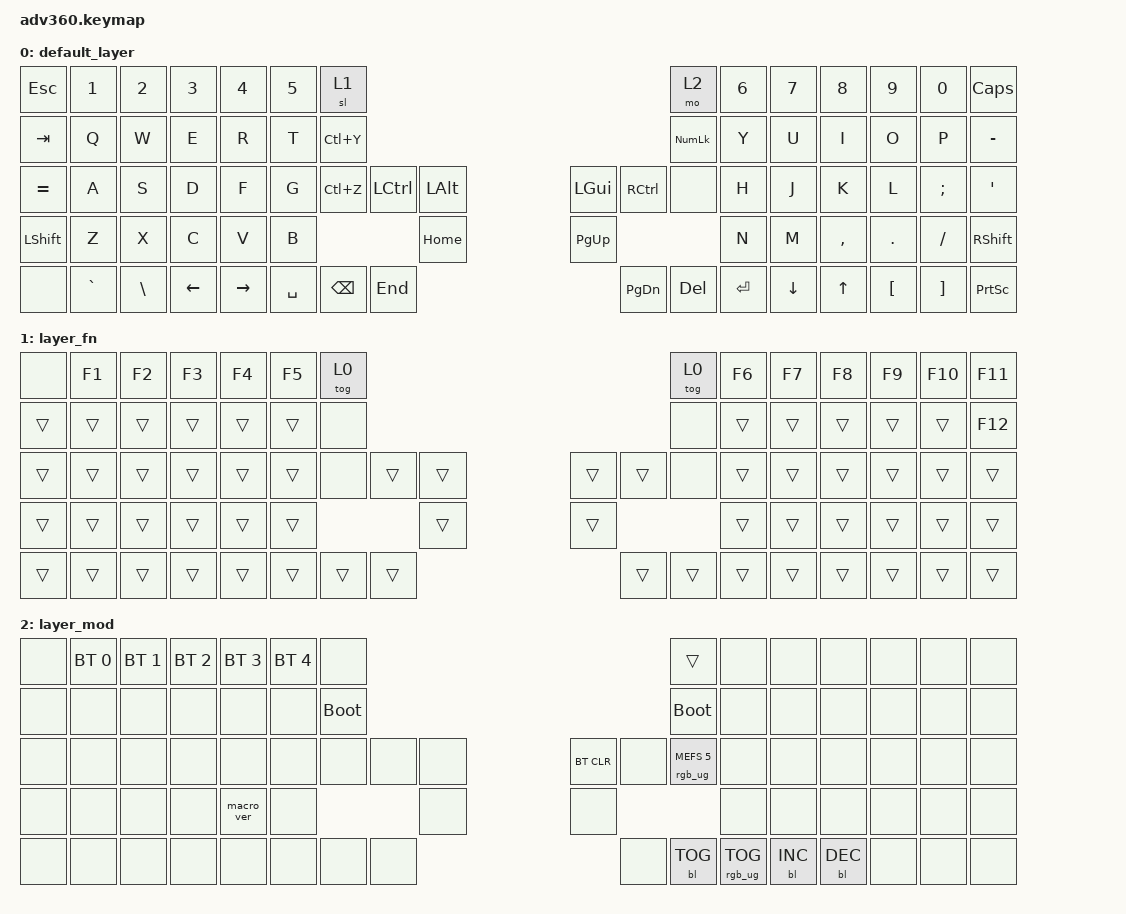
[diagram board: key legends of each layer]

/*
 * Copyright (c) 2020 The ZMK Contributors
 *
 * SPDX-License-Identifier: MIT
 */


/* THIS FILE WAS GENERATED!
 *
 * This file was generated automatically. You may or may not want to
 * edit it directly.
 */

#include <behaviors.dtsi>
#include <dt-bindings/zmk/keys.h>
#include <dt-bindings/zmk/bt.h>
#include <dt-bindings/zmk/rgb.h>
#include <dt-bindings/zmk/backlight.h>

/ {
  behaviors {
    #include "macros.dtsi"
    #include "version.dtsi"

    hm: homerow_mods {
        compatible = "zmk,behavior-hold-tap";
        label = "HOMEROW_MODS";
        #binding-cells = <2>;
        tapping-term-ms = <200>;
        quick_tap_ms = <175>;
        flavor = "tap-preferred";
        bindings = <&kp>, <&kp>;
    };
  };

    keymap {
        compatible = "zmk,keymap";


        default_layer {
            bindings = <
   &kp ESC     &kp N1         &kp N2    &kp N3     &kp N4  &kp N5                &sl 1                                                                  &mo 2  &kp N6    &kp N7     &kp N8    &kp N9    &kp N0   &kp CAPS
   &kp TAB      &kp Q          &kp W     &kp E      &kp R   &kp T            &kp LC(Y)                                                             &kp KP_NUM   &kp Y     &kp U      &kp I     &kp O     &kp P  &kp MINUS
 &kp EQUAL      &kp A          &kp S     &kp D      &kp F   &kp G            &kp LC(Z)  &kp LCTRL  &kp LALT                   &kp LGUI  &kp RCTRL       &none   &kp H     &kp J      &kp K     &kp L  &kp SEMI    &kp SQT
 &kp LSHFT      &kp Z          &kp X     &kp C      &kp V   &kp B                                  &kp HOME                  &kp PG_UP                          &kp N     &kp M  &kp COMMA   &kp DOT  &kp FSLH  &kp RSHFT
     &none  &kp GRAVE  &kp BACKSLASH  &kp LEFT  &kp RIGHT                    &kp SPACE   &kp BSPC   &kp END                  &kp PG_DN    &kp DEL   &kp ENTER          &kp DOWN     &kp UP  &kp LBKT  &kp RBKT  &kp PSCRN
            >;
        };

        layer_fn {
            bindings = <
  &none  &kp F1  &kp F2  &kp F3  &kp F4  &kp F5            &tog 0                                                  &tog 0  &kp F6  &kp F7  &kp F8  &kp F9  &kp F10  &kp F11
 &trans  &trans  &trans  &trans  &trans  &trans             &none                                                   &none  &trans  &trans  &trans  &trans   &trans  &kp F12
 &trans  &trans  &trans  &trans  &trans  &trans             &none  &trans  &trans                  &trans  &trans   &none  &trans  &trans  &trans  &trans   &trans   &trans
 &trans  &trans  &trans  &trans  &trans  &trans                            &trans                  &trans                  &trans  &trans  &trans  &trans   &trans   &trans
 &trans  &trans  &trans  &trans  &trans                    &trans  &trans  &trans                  &trans  &trans  &trans          &trans  &trans  &trans   &trans   &trans
            >;
        };

        layer_mod {
            bindings = <
  &none  &bt BT_SEL 0  &bt BT_SEL 1  &bt BT_SEL 2  &bt BT_SEL 3  &bt BT_SEL 4                  &none                                                                          &trans   &none       &none       &none   &none   &none   &none
  &none         &none         &none         &none         &none         &none            &bootloader                                                                     &bootloader   &none       &none       &none   &none   &none   &none
  &none         &none         &none         &none         &none         &none                  &none   &none   &none                  &bt BT_CLR       &none  &rgb_ug RGB_MEFS_CMD 5   &none       &none       &none   &none   &none   &none
  &none         &none         &none         &none    &macro_ver         &none                                  &none                       &none                                       &none       &none       &none   &none   &none   &none
  &none         &none         &none         &none         &none                                &none   &none   &none                       &none  &bl BL_TOG         &rgb_ug RGB_TOG          &bl BL_INC  &bl BL_DEC   &none   &none   &none
            >;
        };

    };
};
